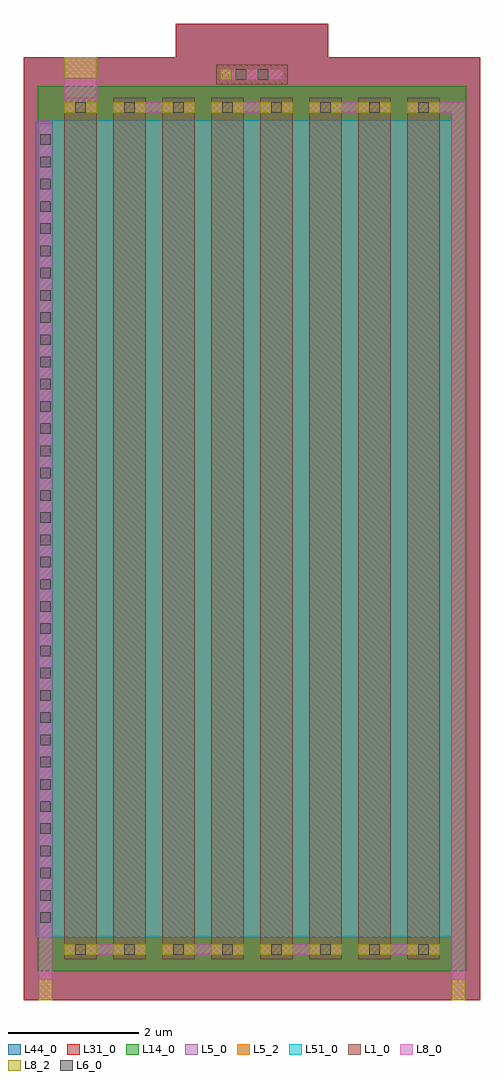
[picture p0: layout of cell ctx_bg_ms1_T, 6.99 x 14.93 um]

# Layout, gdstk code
from math import pi, radians
import gdstk
lib = gdstk.Library(unit=1e-6, precision=1e-09)
def R(c, l, rs):  # rectangles x0, y0, x1, y1
    for r in rs: c.add(gdstk.rectangle(r[:2], r[2:], *l))
def A(c, l, x, y, w, h, nx, ny, dx, dy):  # array of equal rectangles
    R(c, l, [(x+i*dx, y+j*dy, x+i*dx+w, y+j*dy+h) for i in range(nx) for j in range(ny)])
L1_0 = (1, 0)
L5_0 = (5, 0)
L5_2 = (5, 2)
L6_0 = (6, 0)
L8_0 = (8, 0)
L8_2 = (8, 2)
L14_0 = (14, 0)
L31_0 = (31, 0)
L44_0 = (44, 0)
L51_0 = (51, 0)

pmoshv_13 = lib.new_cell('pmosHV$13')
R(pmoshv_13, L1_0, [(0,0,0.3,0.3), (0,0,13.18,0.5), (12.88,0,13.18,0.3)])
R(pmoshv_13, L5_0, [(0.34,-0.18,12.84,0.68)])
R(pmoshv_13, L5_2, [(0.34,-0.18,12.84,0.68)])
R(pmoshv_13, L6_0, [(0.07,0.17,0.23,0.33), (12.95,0.17,13.11,0.33)])
R(pmoshv_13, L8_0, [(0.07,0,0.23,0.5), (12.95,0,13.11,0.5)])
R(pmoshv_13, L8_2, [(0.07,0,0.23,0.5), (12.95,0,13.11,0.5)])
R(pmoshv_13, L14_0, [(-0.18,-0.4,13.36,0.9)])
R(pmoshv_13, L31_0, [(-0.62,-0.62,13.8,1.12)])
R(pmoshv_13, L44_0, [(-0.62,-0.62,13.8,1.12)])
R(pmoshv_13, L51_0, [(0.34,-0.18,12.84,0.68)])
pmoshv_13.add(gdstk.Label('pmosHV', (6.59,0.25), layer=63, texttype=0))
pmoshv_13.add(gdstk.Label('pmos', (6.59,0.25), layer=51, texttype=0))

bg_ms1 = lib.new_cell('bg_ms1')
R(bg_ms1, L5_0, [(-0.435,0.34,0,12.84)])
A(bg_ms1, L6_0, -0.365, 0.56, 0.16, 0.16, 1, 36, 0, 0.34)
A(bg_ms1, L8_0, 0, 0.07, 1.25, 0.16, 4, 1, 1.5, 0)
A(bg_ms1, L8_0, 0.75, 12.95, 1.25, 0.16, 3, 1, 1.5, 0)
R(bg_ms1, L8_0, [(-0.39,-0.62,-0.18,12.77), (5.93,-0.62,6.14,13.11), (0,12.95,0.5,13.8), (5.25,12.95,6.14,13.11)])
R(bg_ms1, L8_2, [(-0.39,-0.62,-0.18,-0.3), (5.93,-0.62,6.14,-0.3), (0,13.48,0.5,13.8)])
R(bg_ms1, L31_0, [(-0.62,-0.62,6.37,13.8)])
R(bg_ms1, L44_0, [(-0.62,-0.62,6.37,13.8)])
r = gdstk.Reference(pmoshv_13, (0,13.18), rotation=3*pi/2); r.repetition = gdstk.Repetition(1, 8, v1=(0,0), v2=(0.75,0)); bg_ms1.add(r)
bg_ms1.add(gdstk.Label('MS1_0', (0.25,6.59), layer=63, texttype=0))
bg_ms1.add(gdstk.Label('MS1_1', (1,6.59), layer=63, texttype=0))
bg_ms1.add(gdstk.Label('MS1_2', (1.75,6.59), layer=63, texttype=0))
bg_ms1.add(gdstk.Label('MS1_3', (2.5,6.59), layer=63, texttype=0))
bg_ms1.add(gdstk.Label('MS1_4', (3.25,6.59), layer=63, texttype=0))
bg_ms1.add(gdstk.Label('MS1_5', (4,6.59), layer=63, texttype=0))
bg_ms1.add(gdstk.Label('MS1_6', (4.75,6.59), layer=63, texttype=0))
bg_ms1.add(gdstk.Label('MS1_7', (5.5,6.59), layer=63, texttype=0))
bg_ms1.add(gdstk.Label('vdd', (0.25,13.64), layer=8, texttype=25))
bg_ms1.add(gdstk.Label('ks', (6.035,-0.46), layer=8, texttype=25))
bg_ms1.add(gdstk.Label('en_3v3_b', (-0.285,-0.46), layer=8, texttype=25))

ctx_bg_ms1_t_tap0 = lib.new_cell('ctx_bg_ms1_T_tap0')
R(ctx_bg_ms1_t_tap0, L1_0, [(2.325,13.39,3.425,13.69)])
R(ctx_bg_ms1_t_tap0, L6_0, [(2.625,13.46,2.785,13.62), (2.965,13.46,3.125,13.62)])
R(ctx_bg_ms1_t_tap0, L8_0, [(2.395,13.46,3.355,13.62)])
R(ctx_bg_ms1_t_tap0, L8_2, [(2.395,13.46,2.555,13.62)])
R(ctx_bg_ms1_t_tap0, L31_0, [(1.705,12.77,4.045,14.31)])
R(ctx_bg_ms1_t_tap0, L44_0, [(1.705,12.77,4.045,14.31)])
ctx_bg_ms1_t_tap0.add(gdstk.Label('vdd', (2.475,13.54), layer=8, texttype=25))

ctx_bg_ms1_t = lib.new_cell('ctx_bg_ms1_T')
ctx_bg_ms1_t.add(gdstk.Reference(bg_ms1, (0,0)))
ctx_bg_ms1_t.add(gdstk.Reference(ctx_bg_ms1_t_tap0, (0,0)))

lib.write_gds('ctx_bg_ms1_T.gds')
